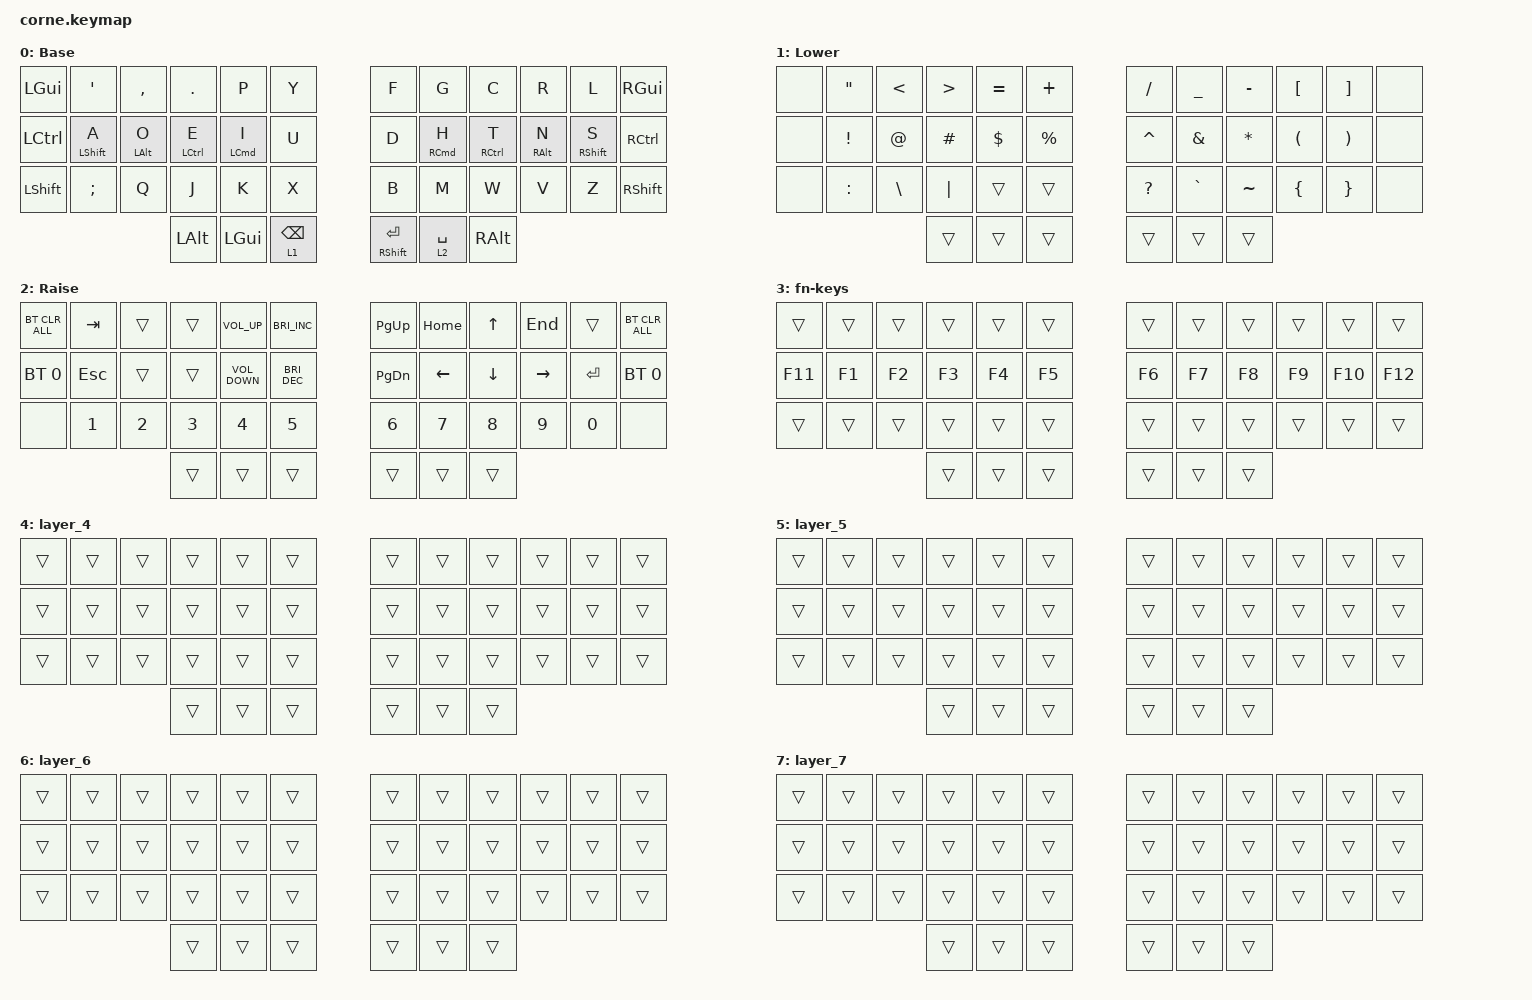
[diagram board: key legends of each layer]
/*
 * Copyright (c) 2020 The ZMK Contributors
 *
 * SPDX-License-Identifier: MIT
 *
 */

#include <behaviors.dtsi>
#include <dt-bindings/zmk/bt.h>
#include <dt-bindings/zmk/keys.h>

/ {
    behaviors {
        homerow_mod: homerow_mod {
            compatible = "zmk,behavior-hold-tap";
            label = "HOMEROW_MOD";
            bindings = <&kp>, <&kp>;

            #binding-cells = <2>;
            tapping-term-ms = <200>;
            flavor = "balanced";
        };
    };

    keymap {
        compatible = "zmk,keymap";

        default_layer {
            // -----------------------------------------------------------------------------------------
            // |  TAB |  Q  |  W  |  E  |  R  |  T  |   |  Y  |  U   |  I  |  O  |  P  | BKSP |
            // | CTRL |  A  |  S  |  D  |  F  |  G  |   |  H  |  J   |  K  |  L  |  ;  |  '   |
            // | SHFT |  Z  |  X  |  C  |  V  |  B  |   |  N  |  M   |  ,  |  .  |  /  | ESC  |
            //                    | GUI | LWR | SPC |   | ENT | RSE  | ALT |

            label = "Base";
            bindings = <
&kp LEFT_GUI  &kp SINGLE_QUOTE           &kp COMMA                &kp PERIOD                   &kp P                        &kp Y              &kp F             &kp G                         &kp C                         &kp R                     &kp L                       &kp RGUI
&kp LCTRL     &homerow_mod LEFT_SHIFT A  &homerow_mod LEFT_ALT O  &homerow_mod LEFT_CONTROL E  &homerow_mod LEFT_COMMAND I  &kp U              &kp D             &homerow_mod RIGHT_COMMAND H  &homerow_mod RIGHT_CONTROL T  &homerow_mod RIGHT_ALT N  &homerow_mod RIGHT_SHIFT S  &kp RCTRL
&kp LSHFT     &kp SEMI                   &kp Q                    &kp J                        &kp K                        &kp X              &kp B             &kp M                         &kp W                         &kp V                     &kp Z                       &kp RSHIFT
                                                                  &kp LEFT_ALT                 &kp LEFT_GUI                 &lt 1 BACKSPACE    &mt RSHIFT ENTER  &lt 2 SPACE                   &kp RIGHT_ALT
            >;
        };

        symbols {
            // -----------------------------------------------------------------------------------------
            // |  TAB |  1  |  2  |  3  |  4  |  5  |   |  6  |  7  |  8  |  9  |  0  | BKSP |
            // | BTCLR| BT1 | BT2 | BT3 | BT4 | BT5 |   | LFT | DWN |  UP | RGT |     |      |
            // | SHFT |STDUL|     |     |     |   |     |     |     |     |     |      |
            //                    |BTCLR|     | SPC |   | ENT |     | ALT |

            label = "Lower";
            bindings = <
&none  &kp DOUBLE_QUOTES  &kp LESS_THAN  &kp GREATER_THAN  &kp EQUAL   &kp PLUS       &kp SLASH     &kp UNDERSCORE  &kp MINUS     &kp LEFT_BRACKET      &kp RIGHT_BRACKET      &none
&none  &kp EXCLAMATION    &kp AT_SIGN    &kp HASH          &kp DOLLAR  &kp PERCENT    &kp CARET     &kp AMPERSAND   &kp ASTERISK  &kp LEFT_PARENTHESIS  &kp RIGHT_PARENTHESIS  &none
&none  &kp COLON          &kp BACKSLASH  &kp PIPE          &trans      &trans         &kp QUESTION  &kp GRAVE       &kp TILDE     &kp LEFT_BRACE        &kp RIGHT_BRACE        &none
                                         &trans            &trans      &trans         &trans        &trans          &trans
            >;
        };

        numbers-arrows {
            // -----------------------------------------------------------------------------------------
            // |  TAB |  !  |  @  |  #  |  $  |  %  |   |  ^  |  &  |  *  |  (  |  )  | BKSP |
            // | CTRL |     |     |     |     |     |   |  -  |  =  |  [  |  ]  |  \  |  `   |
            // | SHFT |     |     |     |     |     |   |  _  |  +  |  {  |  }  | "|" |  ~   |
            //                    | GUI |     | SPC |   | ENT |     | ALT |

            label = "Raise";
            bindings = <
&bt BT_CLR_ALL  &kp TAB       &trans        &trans        &kp K_VOLUME_UP    &kp C_BRIGHTNESS_INC    &kp PAGE_UP    &kp HOME  &kp UP_ARROW  &kp END    &trans     &bt BT_CLR_ALL
&bt BT_SEL 0    &kp ESCAPE    &trans        &trans        &kp K_VOLUME_DOWN  &kp C_BRIGHTNESS_DEC    &kp PAGE_DOWN  &kp LEFT  &kp DOWN      &kp RIGHT  &kp ENTER  &bt BT_SEL 0
&none           &kp NUMBER_1  &kp NUMBER_2  &kp NUMBER_3  &kp NUMBER_4       &kp N5                  &kp NUMBER_6   &kp N7    &kp N8        &kp N9     &kp N0     &none
                                            &trans        &trans             &trans                  &trans         &trans    &trans
            >;
        };

        fn-keys {
            bindings = <
&trans   &trans  &trans  &trans  &trans  &trans    &trans  &trans  &trans  &trans  &trans   &trans
&kp F11  &kp F1  &kp F2  &kp F3  &kp F4  &kp F5    &kp F6  &kp F7  &kp F8  &kp F9  &kp F10  &kp F12
&trans   &trans  &trans  &trans  &trans  &trans    &trans  &trans  &trans  &trans  &trans   &trans
                         &trans  &trans  &trans    &trans  &trans  &trans
            >;
        };

        layer_4 {
            bindings = <
&trans  &trans  &trans  &trans  &trans  &trans    &trans  &trans  &trans  &trans  &trans  &trans
&trans  &trans  &trans  &trans  &trans  &trans    &trans  &trans  &trans  &trans  &trans  &trans
&trans  &trans  &trans  &trans  &trans  &trans    &trans  &trans  &trans  &trans  &trans  &trans
                        &trans  &trans  &trans    &trans  &trans  &trans
            >;
        };

        layer_5 {
            bindings = <
&trans  &trans  &trans  &trans  &trans  &trans    &trans  &trans  &trans  &trans  &trans  &trans
&trans  &trans  &trans  &trans  &trans  &trans    &trans  &trans  &trans  &trans  &trans  &trans
&trans  &trans  &trans  &trans  &trans  &trans    &trans  &trans  &trans  &trans  &trans  &trans
                        &trans  &trans  &trans    &trans  &trans  &trans
            >;
        };

        layer_6 {
            bindings = <
&trans  &trans  &trans  &trans  &trans  &trans    &trans  &trans  &trans  &trans  &trans  &trans
&trans  &trans  &trans  &trans  &trans  &trans    &trans  &trans  &trans  &trans  &trans  &trans
&trans  &trans  &trans  &trans  &trans  &trans    &trans  &trans  &trans  &trans  &trans  &trans
                        &trans  &trans  &trans    &trans  &trans  &trans
            >;
        };

        layer_7 {
            bindings = <
&trans  &trans  &trans  &trans  &trans  &trans    &trans  &trans  &trans  &trans  &trans  &trans
&trans  &trans  &trans  &trans  &trans  &trans    &trans  &trans  &trans  &trans  &trans  &trans
&trans  &trans  &trans  &trans  &trans  &trans    &trans  &trans  &trans  &trans  &trans  &trans
                        &trans  &trans  &trans    &trans  &trans  &trans
            >;
        };
    };
};
